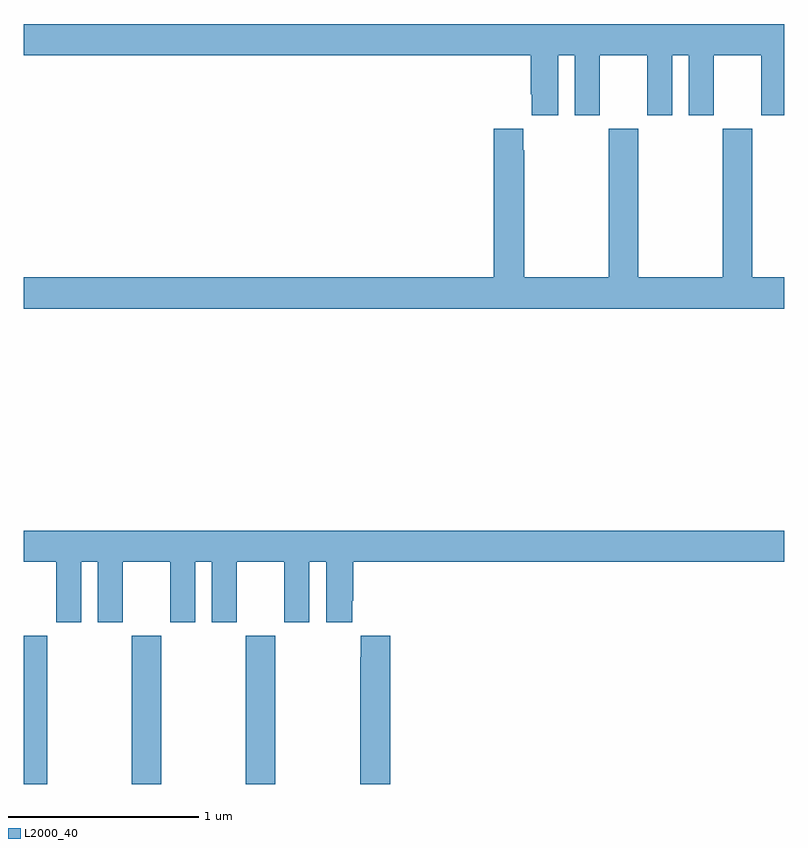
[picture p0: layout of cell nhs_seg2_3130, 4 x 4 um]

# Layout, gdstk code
import gdstk
lib = gdstk.Library(unit=1e-6, precision=1e-09)
def R(c, l, rs):  # rectangles x0, y0, x1, y1
    for r in rs: c.add(gdstk.rectangle(r[:2], r[2:], *l))
def P(c, l, *ps):  # polygons
    for p in ps: c.add(gdstk.Polygon(p, *l))
L2000_40 = (2000, 40)

nhs_seg2_3130 = lib.new_cell('nhs_seg2_3130')
R(nhs_seg2_3130, L2000_40, [(275,647.8,275.124,648.58), (275.569,647.8,275.724,648.58), (276.169,647.8,276.324,648.58)])
P(nhs_seg2_3130, L2000_40, [(277.81,651.632),(277.898,651.632),(277.898,651.315),(278.029,651.315),(278.029,651.632),(278.279,651.632),(278.279,651.315),(278.41,651.315),(278.41,651.632),(278.498,651.632),(278.498,651.315),(278.629,651.315),(278.629,651.632),(278.879,651.632),(278.879,651.315),(279,651.315),(279,651.796),(275,651.796),(275,651.632),(277.667,651.632),(277.667,651.427),(277.673,651.427),(277.673,651.315),(277.81,651.315)],
  [(279,650.464),(278.832,650.464),(278.832,651.244),(278.677,651.244),(278.677,650.464),(278.232,650.464),(278.232,651.244),(278.077,651.244),(278.077,650.464),(277.632,650.464),(277.632,651.131),(277.627,651.131),(277.627,651.244),(277.472,651.244),(277.472,650.464),(275,650.464),(275,650.3),(279,650.3)],
  [(275,648.968),(275.171,648.968),(275.171,648.651),(275.302,648.651),(275.302,648.968),(275.39,648.968),(275.39,648.651),(275.521,648.651),(275.521,648.968),(275.771,648.968),(275.771,648.651),(275.902,648.651),(275.902,648.968),(275.99,648.968),(275.99,648.651),(276.121,648.651),(276.121,648.968),(276.371,648.968),(276.371,648.651),(276.502,648.651),(276.502,648.968),(276.59,648.968),(276.59,648.651),(276.727,648.651),(276.727,648.763),(276.734,648.763),(276.734,648.968),(279,648.968),(279,649.132),(275,649.132)],
  [(276.929,648.58),(276.773,648.58),(276.773,648.467),(276.769,648.467),(276.769,647.8),(276.929,647.8)])

lib.write_gds('nhs_seg2_3130.gds')
